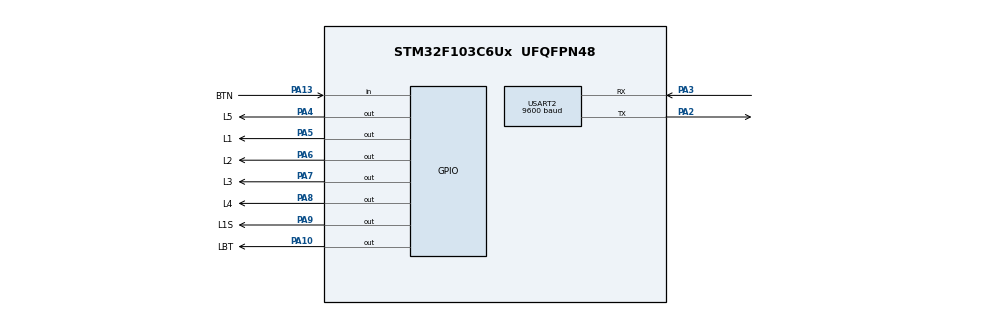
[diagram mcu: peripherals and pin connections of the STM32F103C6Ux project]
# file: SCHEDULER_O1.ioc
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Mcu.Family=STM32F1
Mcu.Name=STM32F103C6Ux
Mcu.Package=UFQFPN48
NVIC.PriorityGroup=NVIC_PRIORITYGROUP_4
NVIC.TIM2_IRQn=true\:0\:0\:false\:false\:true\:true\:true
NVIC.USART2_IRQn=true\:0\:0\:false\:false\:true\:true\:true
PA10.GPIO_Label=LBT
PA10.Signal=GPIO_Output
PA13.GPIO_Label=BTN
PA13.GPIO_PuPd=GPIO_PULLUP
PA13.Signal=GPIO_Input
PA2.Mode=Asynchronous
PA2.Signal=USART2_TX
PA3.Mode=Asynchronous
PA3.Signal=USART2_RX
PA4.GPIO_Label=L5
PA4.Signal=GPIO_Output
PA5.GPIO_Label=L1
PA5.Signal=GPIO_Output
PA6.GPIO_Label=L2
PA6.Signal=GPIO_Output
PA7.GPIO_Label=L3
PA7.Signal=GPIO_Output
PA8.GPIO_Label=L4
PA8.Signal=GPIO_Output
PA9.GPIO_Label=L1S
PA9.Signal=GPIO_Output
ProjectManager.HeapSize=0x200
ProjectManager.StackSize=0x400
ProjectManager.TargetToolchain=STM32CubeIDE
RCC.APB1Freq_Value=8000000
RCC.APB2Freq_Value=8000000
TIM2.Period=9
TIM2.Prescaler=7999
USART2.BaudRate=9600
USART2.VirtualMode=VM_ASYNC
VP_SYS_VS_ND.Mode=No_Debug
VP_TIM2_VS_ClockSourceINT.Mode=Internal
board=custom

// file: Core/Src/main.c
/* USER CODE BEGIN Header */
/**
  ******************************************************************************
  * @file           : main.c
  * @brief          : Main program body
  ******************************************************************************
  * @attention
  *
  * <h2><center>&copy; Copyright (c) 2023 STMicroelectronics.
  * All rights reserved.</center></h2>
  *
  * This software component is licensed by ST under BSD 3-Clause license,
  * the "License"; You may not use this file except in compliance with the
  * License. You may obtain a copy of the License at:
  *                        opensource.org/licenses/BSD-3-Clause
  *
  ******************************************************************************
  */
/* USER CODE END Header */
#include "main.h"

#include "uart.h"
/* USER CODE BEGIN Includes */
#include "scheduler.h"
#include "input_reading.h"
#include "input_processing.h"
/* USER CODE END Includes */

TIM_HandleTypeDef htim2;

UART_HandleTypeDef huart2;

void SystemClock_Config(void);
static void MX_GPIO_Init(void);
static void MX_TIM2_Init(void);
static void MX_USART2_UART_Init(void);

/* USER CODE BEGIN 0 */
void HAL_UART_RxCpltCallback(UART_HandleTypeDef* huart) {
	if(huart->Instance == USART2){
		HAL_UART_Transmit(&huart2, &temp, 1, 50);
		HAL_UART_Receive_IT(&huart2, &temp, 1);
	}
}

void led1_0s5(){
	HAL_GPIO_TogglePin(L1_GPIO_Port, L1_Pin);
}
void led2_1s(){
	HAL_GPIO_TogglePin(L2_GPIO_Port, L2_Pin);
}
void led3_1s5(){
	HAL_GPIO_TogglePin(L3_GPIO_Port, L3_Pin);
}
void led4_2s(){
	HAL_GPIO_TogglePin(L4_GPIO_Port, L4_Pin);
}
void led1S_3s(){
	HAL_GPIO_TogglePin(L1S_GPIO_Port, L1S_Pin);
}
void ledBtn(){
	if(check_button_pressed(0)){
		HAL_GPIO_TogglePin(LBT_GPIO_Port, LBT_Pin);
	}
}
void led5_2s5(){
	HAL_GPIO_TogglePin(L5_GPIO_Port, L5_Pin);
}
/* USER CODE END 0 */

int main(void)
{

  /* MCU Configuration--------------------------------------------------------*/

  /* Reset of all peripherals, Initializes the Flash interface and the Systick. */
  HAL_Init();

  /* USER CODE BEGIN Init */
  SCH_Init();
  /* USER CODE END Init */

  /* Configure the system clock */
  SystemClock_Config();

  /* Initialize all configured peripherals */
  MX_GPIO_Init();
  MX_TIM2_Init();
  MX_USART2_UART_Init();
  /* USER CODE BEGIN 2 */
  HAL_UART_Receive_IT(&huart2, &temp, 1);
	HAL_TIM_Base_Start_IT(&htim2);
	SCH_Add_Task(led1_0s5, 10, 50);
	SCH_Add_Task(led2_1s, 10, 100);
	SCH_Add_Task(led3_1s5, 10, 150);
	SCH_Add_Task(led4_2s, 10, 200);
	SCH_Add_Task(led5_2s5, 10, 250);
	SCH_Add_Task(led1S_3s, 30, 0);
	SCH_Add_Task(ledBtn, 1, 1);
  /* USER CODE END 2 */

  /* Infinite loop */
  while (1)
  {
	  SCH_Dispatch_Tasks();
  }
}

void SystemClock_Config(void)
{
  RCC_OscInitTypeDef RCC_OscInitStruct = {0};
  RCC_ClkInitTypeDef RCC_ClkInitStruct = {0};

  /** Initializes the RCC Oscillators according to the specified parameters
  * in the RCC_OscInitTypeDef structure.
  */
  RCC_OscInitStruct.OscillatorType = RCC_OSCILLATORTYPE_HSI;
  RCC_OscInitStruct.HSIState = RCC_HSI_ON;
  RCC_OscInitStruct.HSICalibrationValue = RCC_HSICALIBRATION_DEFAULT;
  RCC_OscInitStruct.PLL.PLLState = RCC_PLL_NONE;
  if (HAL_RCC_OscConfig(&RCC_OscInitStruct) != HAL_OK)
  {
    Error_Handler();
  }
  /** Initializes the CPU, AHB and APB buses clocks
  */
  RCC_ClkInitStruct.ClockType = RCC_CLOCKTYPE_HCLK|RCC_CLOCKTYPE_SYSCLK
                              |RCC_CLOCKTYPE_PCLK1|RCC_CLOCKTYPE_PCLK2;
  RCC_ClkInitStruct.SYSCLKSource = RCC_SYSCLKSOURCE_HSI;
  RCC_ClkInitStruct.AHBCLKDivider = RCC_SYSCLK_DIV1;
  RCC_ClkInitStruct.APB1CLKDivider = RCC_HCLK_DIV1;
  RCC_ClkInitStruct.APB2CLKDivider = RCC_HCLK_DIV1;

  if (HAL_RCC_ClockConfig(&RCC_ClkInitStruct, FLASH_LATENCY_0) != HAL_OK)
  {
    Error_Handler();
  }
}

static void MX_TIM2_Init(void)
{

  TIM_ClockConfigTypeDef sClockSourceConfig = {0};
  TIM_MasterConfigTypeDef sMasterConfig = {0};

  htim2.Instance = TIM2;
  htim2.Init.Prescaler = 7999;
  htim2.Init.CounterMode = TIM_COUNTERMODE_UP;
  htim2.Init.Period = 9;
  htim2.Init.ClockDivision = TIM_CLOCKDIVISION_DIV1;
  htim2.Init.AutoReloadPreload = TIM_AUTORELOAD_PRELOAD_DISABLE;
  if (HAL_TIM_Base_Init(&htim2) != HAL_OK)
  {
    Error_Handler();
  }
  sClockSourceConfig.ClockSource = TIM_CLOCKSOURCE_INTERNAL;
  if (HAL_TIM_ConfigClockSource(&htim2, &sClockSourceConfig) != HAL_OK)
  {
    Error_Handler();
  }
  sMasterConfig.MasterOutputTrigger = TIM_TRGO_RESET;
  sMasterConfig.MasterSlaveMode = TIM_MASTERSLAVEMODE_DISABLE;
  if (HAL_TIMEx_MasterConfigSynchronization(&htim2, &sMasterConfig) != HAL_OK)
  {
    Error_Handler();
  }

}

static void MX_USART2_UART_Init(void)
{

  huart2.Instance = USART2;
  huart2.Init.BaudRate = 9600;
  huart2.Init.WordLength = UART_WORDLENGTH_8B;
  huart2.Init.StopBits = UART_STOPBITS_1;
  huart2.Init.Parity = UART_PARITY_NONE;
  huart2.Init.Mode = UART_MODE_TX_RX;
  huart2.Init.HwFlowCtl = UART_HWCONTROL_NONE;
  huart2.Init.OverSampling = UART_OVERSAMPLING_16;
  if (HAL_UART_Init(&huart2) != HAL_OK)
  {
    Error_Handler();
  }

}

static void MX_GPIO_Init(void)
{
  GPIO_InitTypeDef GPIO_InitStruct = {0};

  /* GPIO Ports Clock Enable */
  __HAL_RCC_GPIOA_CLK_ENABLE();

  /*Configure GPIO pin Output Level */
  HAL_GPIO_WritePin(GPIOA, L5_Pin|L1_Pin|L2_Pin|L3_Pin
                          |L4_Pin|L1S_Pin|LBT_Pin, GPIO_PIN_RESET);

  /*Configure GPIO pins : L5_Pin L1_Pin L2_Pin L3_Pin
                           L4_Pin L1S_Pin LBT_Pin */
  GPIO_InitStruct.Pin = L5_Pin|L1_Pin|L2_Pin|L3_Pin
                          |L4_Pin|L1S_Pin|LBT_Pin;
  GPIO_InitStruct.Mode = GPIO_MODE_OUTPUT_PP;
  GPIO_InitStruct.Pull = GPIO_NOPULL;
  GPIO_InitStruct.Speed = GPIO_SPEED_FREQ_LOW;
  HAL_GPIO_Init(GPIOA, &GPIO_InitStruct);

  /*Configure GPIO pin : BTN_Pin */
  GPIO_InitStruct.Pin = BTN_Pin;
  GPIO_InitStruct.Mode = GPIO_MODE_INPUT;
  GPIO_InitStruct.Pull = GPIO_PULLUP;
  HAL_GPIO_Init(BTN_GPIO_Port, &GPIO_InitStruct);

}

/* USER CODE BEGIN 4 */
void HAL_TIM_PeriodElapsedCallback(TIM_HandleTypeDef *htim) {
	SCH_Update();
	button_reading();
}
/* USER CODE END 4 */

void Error_Handler(void)
{
  __disable_irq();
  while (1)
  {
  }
}

/************************ (C) COPYRIGHT STMicroelectronics *****END OF FILE****/
